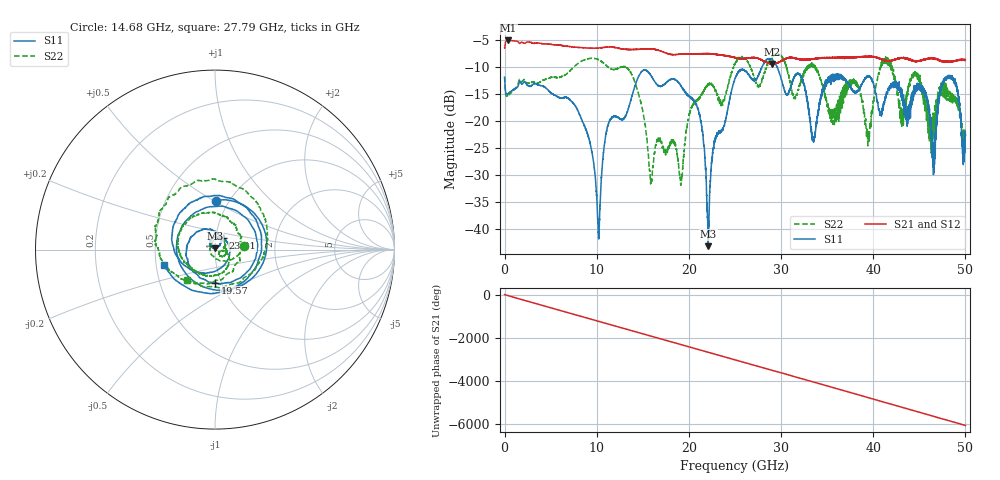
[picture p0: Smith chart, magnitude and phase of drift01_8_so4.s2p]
!Created with skrf (http://scikit-rf.org).
# Hz S RI R 50.0
!freq ReS11 ImS11 ReS21 ImS21 ReS12 ImS12 ReS22 ImS22
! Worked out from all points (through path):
!   10001 points, 300 kHz to 50 GHz, reference 50 ohm
!   highest |S21| = -5.05 dB at 390.3 MHz (marker M1); lowest = -9.4 dB at 29.03 GHz (marker M2)
!   group delay of S21, straight-line fit = 336 ps
!   lowest |S11| = -43.1 dB at 22.1 GHz (marker M3), VSWR 1.01, Z = 49.8 + j0.681 ohm
!   |S11| at or under -10 dB: start of sweep to 27.92 GHz; 29.58 GHz to end of sweep
!   |S22| runs from -31.8 to -7.4 dB; largest |S21 - S12| = 0.011
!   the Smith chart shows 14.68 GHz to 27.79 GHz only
!   S11 on the Smith chart (normalised r, x): 14.68 GHz: 0.87, +0.51; 19.57 GHz: 0.94, -0.36; 23.21 GHz: 1.09, +0.14; 27.79 GHz: 0.55, -0.10
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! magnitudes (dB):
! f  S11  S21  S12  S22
! 300 kHz  -11.9  -6.5  -6.5  -11.7
! 390.3 MHz  -14.9  -5.1  -5.1  -15.2
! 8.335 GHz  -19.6  -6.4  -6.4  -8.9
! 10.2 GHz  -41.2  -6.4  -6.4  -8.6
! 11.23 GHz  -20.7  -6.3  -6.3  -10.0
! 14.68 GHz  -11.3  -6.7  -6.7  -15.9
! 15.87 GHz  -11.5  -6.6  -6.6  -31.4
! 16.67 GHz  -13.4  -6.9  -6.9  -23.2
! 19.57 GHz  -14.7  -7.6  -7.6  -23.9
! 21.2 GHz  -19.0  -7.5  -7.5  -15.6
! 22.1 GHz  -43.1  -7.5  -7.5  -13.3
! 23.21 GHz  -22.2  -7.7  -7.7  -15.8
! 25 GHz  -12.1  -8.3  -8.3  -9.5
! 27.79 GHz  -10.5  -8.6  -8.6  -12.8
! 29.03 GHz  -8.6  -9.4  -9.4  -8.2
! 33.34 GHz  -22.4  -8.5  -8.5  -9.7
! 39.47 GHz  -11.7  -8.1  -8.0  -22.6
! 41.67 GHz  -13.8  -8.9  -8.8  -8.9
! 45.37 GHz  -13.8  -8.7  -8.7  -13.9
! 46.56 GHz  -26.0  -8.3  -8.3  -21.1
! 48.49 GHz  -11.8  -9.0  -9.0  -15.7
! 50 GHz  -22.6  -8.7  -8.7  -22.7
